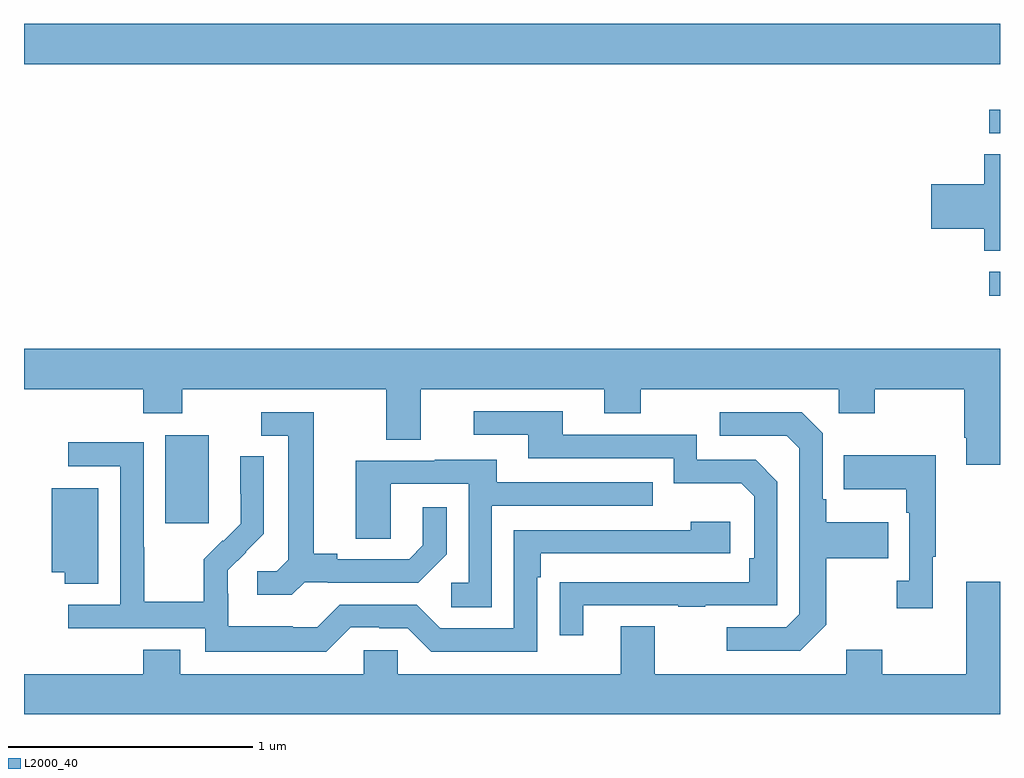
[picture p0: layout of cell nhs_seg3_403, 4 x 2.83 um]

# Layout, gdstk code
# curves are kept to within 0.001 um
import gdstk
lib = gdstk.Library(unit=1e-6, precision=1e-09)
def R(c, l, rs):  # rectangles x0, y0, x1, y1
    for r in rs: c.add(gdstk.rectangle(r[:2], r[2:], *l))
def P(c, l, *ps):  # polygons
    for p in ps: c.add(gdstk.Polygon(p, *l))
L2000_40 = (2000, 40)

nhs_seg3_403 = lib.new_cell('nhs_seg3_403')
R(nhs_seg3_403, L2000_40, [(131.579,693.705,131.758,694.066), (134.955,694.639,135,694.737), (134.955,695.304,135,695.4), (131,695.588,135,695.752)])
P(nhs_seg3_403, L2000_40, [(135,695.219),(134.936,695.219),(134.936,695.096),(134.718,695.096),(134.718,694.913),(134.936,694.913),(134.936,694.822),(135,694.822)],
  [(135,694.42),(131,694.42),(131,694.256),(131.489,694.256),(131.489,694.157),(131.649,694.157),(131.649,694.256),(132.485,694.256),(132.485,694.048),(132.625,694.048),(132.625,694.256),(133.379,694.256),(133.379,694.157),(133.527,694.157),(133.527,694.256),(134.34,694.256),(134.34,694.157),(134.487,694.157),(134.487,694.256),(134.854,694.256),(134.854,694.057),(134.861,694.057),(134.861,693.945),(135,693.945)],
  [(133.291,693.369),(133.681,693.369),(133.681,693.364),(133.793,693.364),(133.793,693.369),(134.088,693.369),(134.088,693.876),(133.998,693.966),(133.758,693.966),(133.758,694.068),(133.207,694.068),(133.207,694.164),(132.843,694.164),(132.843,694.068),(133.067,694.068),(133.067,693.972),(133.662,693.972),(133.662,693.869),(133.939,693.869),(133.992,693.816),(133.992,693.562),(133.972,693.562),(133.972,693.465),(133.195,693.464),(133.195,693.246),(133.291,693.246)],
  [(134.287,693.289),(134.287,693.562),(134.543,693.562),(134.543,693.709),(134.287,693.709),(134.287,693.805),(134.274,693.805),(134.274,694.074),(134.187,694.161),(133.851,694.161),(133.851,694.065),(134.127,694.065),(134.178,694.014),(134.178,693.333),(134.124,693.279),(133.881,693.279),(133.881,693.183),(134.181,693.183)],
  [(132.15,693.465),(132.244,693.465),(132.244,693.462),(132.616,693.462),(132.732,693.578),(132.732,693.772),(132.635,693.772),(132.635,693.615),(132.578,693.558),(132.283,693.558),(132.283,693.581),(132.187,693.581),(132.187,694.161),(131.973,694.161),(131.973,694.065),(132.083,694.065),(132.083,693.557),(132.036,693.51),(131.955,693.51),(131.955,693.413),(132.098,693.413)],
  [(132.339,693.279),(132.455,693.279),(132.455,693.276),(132.573,693.276),(132.669,693.18),(133.104,693.18),(133.104,693.485),(133.117,693.485),(133.117,693.582),(133.894,693.582),(133.894,693.712),(133.733,693.712),(133.733,693.678),(133.008,693.678),(133.008,693.276),(132.705,693.276),(132.609,693.372),(132.294,693.372),(132.201,693.279),(132.101,693.279),(132.101,693.283),(131.838,693.283),(131.838,693.417),(131.836,693.417),(131.836,693.514),(131.982,693.662),(131.982,693.98),(131.886,693.98),(131.886,693.826),(131.888,693.826),(131.888,693.704),(131.817,693.633),(131.814,693.636),(131.737,693.559),(131.737,693.385),(131.493,693.385),(131.493,693.608),(131.49,693.608),(131.49,694.038),(131.181,694.038),(131.181,693.939),(131.394,693.939),(131.394,693.372),(131.181,693.372),(131.181,693.276),(131.742,693.276),(131.742,693.179),(132.239,693.179)],
  [(134.725,693.569),(134.737,693.569),(134.737,693.985),(134.359,693.985),(134.359,693.845),(134.616,693.845),(134.616,693.749),(134.628,693.749),(134.628,693.47),(134.577,693.47),(134.577,693.357),(134.725,693.357)],
  [(132.918,693.777),(133.577,693.777),(133.577,693.873),(132.937,693.873),(132.937,693.967),(132.683,693.967),(132.683,693.963),(132.359,693.963),(132.359,693.643),(132.504,693.643),(132.504,693.867),(132.822,693.867),(132.822,693.462),(132.75,693.462),(132.75,693.361),(132.918,693.361)],
  [(131.305,693.85),(131.114,693.85),(131.114,693.506),(131.167,693.506),(131.167,693.457),(131.305,693.457)],
  [(135,693.466),(134.861,693.466),(134.861,693.088),(134.517,693.088),(134.517,693.187),(134.369,693.187),(134.369,693.088),(133.585,693.088),(133.585,693.283),(133.445,693.283),(133.445,693.088),(132.531,693.088),(132.531,693.186),(132.393,693.186),(132.393,693.088),(131.641,693.088),(131.641,693.187),(131.489,693.187),(131.489,693.088),(131,693.088),(131,692.924),(135,692.924)])

lib.write_gds('nhs_seg3_403.gds')
